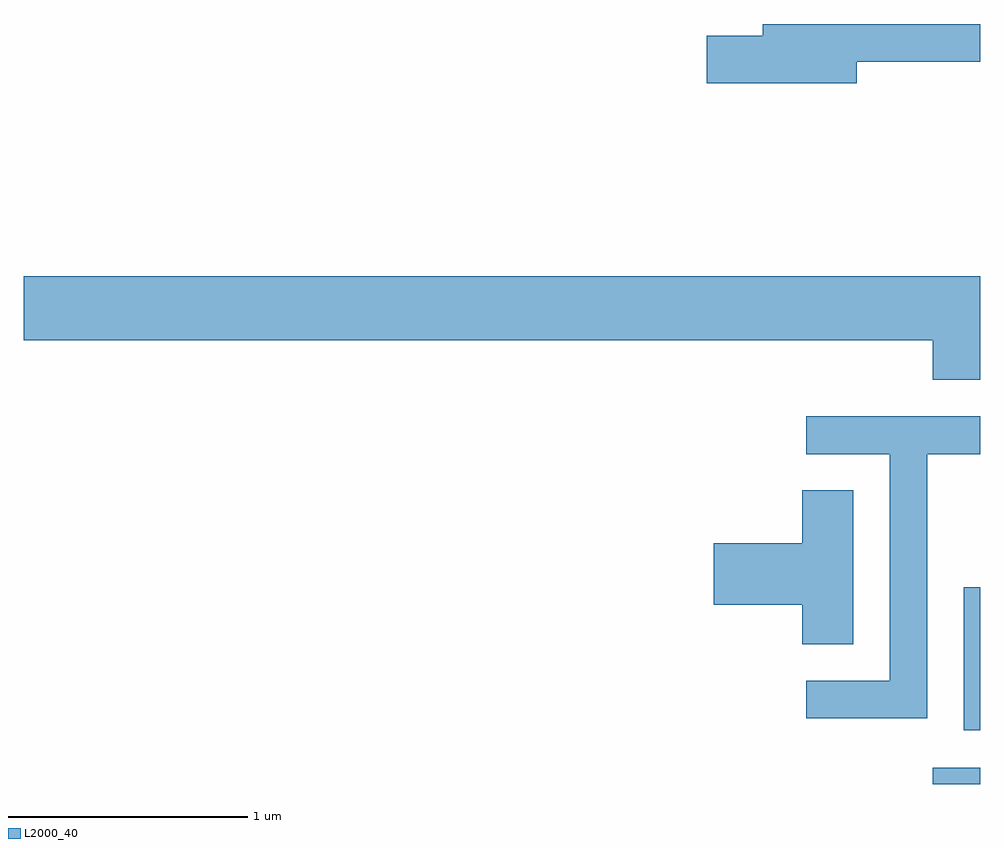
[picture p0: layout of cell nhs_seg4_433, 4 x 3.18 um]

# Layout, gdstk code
import gdstk
lib = gdstk.Library(unit=1e-6, precision=1e-09)
def R(c, l, rs):  # rectangles x0, y0, x1, y1
    for r in rs: c.add(gdstk.rectangle(r[:2], r[2:], *l))
def P(c, l, *ps):  # polygons
    for p in ps: c.add(gdstk.Polygon(p, *l))
L2000_40 = (2000, 40)

nhs_seg4_433 = lib.new_cell('nhs_seg4_433')
R(nhs_seg4_433, L2000_40, [(201.411,1303.982,201.611,1304.049), (201.541,1304.206,201.611,1304.804)])
P(nhs_seg4_433, L2000_40, [(201.094,1307.001),(201.611,1307.001),(201.611,1307.159),(200.701,1307.159),(200.701,1307.109),(200.466,1307.109),(200.466,1306.911),(201.094,1306.911)],
  [(201.611,1306.104),(197.611,1306.104),(197.611,1305.836),(201.411,1305.836),(201.411,1305.671),(201.611,1305.671)],
  [(201.389,1305.361),(201.611,1305.361),(201.611,1305.519),(200.883,1305.519),(200.883,1305.361),(201.231,1305.361),(201.231,1304.414),(200.883,1304.414),(200.883,1304.256),(201.389,1304.256)],
  [(201.079,1305.209),(200.866,1305.209),(200.866,1304.989),(200.496,1304.989),(200.496,1304.731),(200.866,1304.731),(200.866,1304.566),(201.079,1304.566)])

lib.write_gds('nhs_seg4_433.gds')
